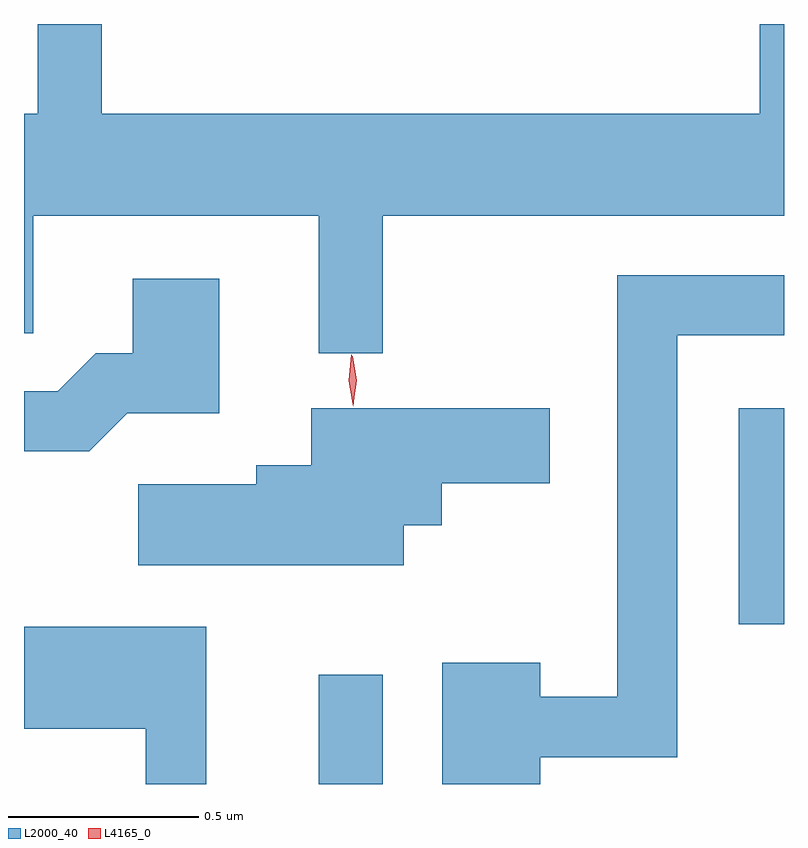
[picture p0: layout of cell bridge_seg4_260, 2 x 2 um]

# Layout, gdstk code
import gdstk
lib = gdstk.Library(unit=1e-6, precision=1e-09)
def R(c, l, rs):  # rectangles x0, y0, x1, y1
    for r in rs: c.add(gdstk.rectangle(r[:2], r[2:], *l))
def P(c, l, *ps):  # polygons
    for p in ps: c.add(gdstk.Polygon(p, *l))
L2000_40 = (2000, 40)
L4165_0 = (4165, 0)

bridge_seg4_260 = lib.new_cell('bridge_seg4_260')
R(bridge_seg4_260, L2000_40, [(701.081,1337.64,701.249,1337.928), (702.186,1338.061,702.305,1338.629)])
P(bridge_seg4_260, L2000_40, [(701.249,1339.136),(702.305,1339.136),(702.305,1339.64),(702.241,1339.64),(702.241,1339.404),(700.509,1339.404),(700.509,1339.64),(700.341,1339.64),(700.341,1339.404),(700.305,1339.404),(700.305,1338.826),(700.329,1338.826),(700.329,1339.136),(701.081,1339.136),(701.081,1338.773),(701.249,1338.773)],
  [(701.664,1337.711),(702.024,1337.711),(702.024,1338.821),(702.305,1338.821),(702.305,1338.979),(701.866,1338.979),(701.866,1337.869),(701.664,1337.869),(701.664,1337.959),(701.406,1337.959),(701.406,1337.64),(701.664,1337.64)],
  [(700.577,1338.616),(700.819,1338.616),(700.819,1338.969),(700.591,1338.969),(700.591,1338.774),(700.494,1338.774),(700.394,1338.674),(700.305,1338.674),(700.305,1338.516),(700.477,1338.516)],
  [(701.304,1338.321),(701.404,1338.321),(701.404,1338.431),(701.689,1338.431),(701.689,1338.629),(701.061,1338.629),(701.061,1338.479),(700.916,1338.479),(700.916,1338.429),(700.606,1338.429),(700.606,1338.216),(701.304,1338.216)],
  [(700.784,1338.054),(700.305,1338.054),(700.305,1337.786),(700.626,1337.786),(700.626,1337.64),(700.784,1337.64)])
P(bridge_seg4_260, L4165_0, [(701.171,1338.634),(701.159,1338.701),(701.166,1338.769),(701.166,1338.77),(701.167,1338.769),(701.179,1338.702),(701.172,1338.634),(701.172,1338.634)],
  [(701.171,1338.639),(701.17,1338.64),(701.16,1338.702),(701.169,1338.766),(701.169,1338.766),(701.17,1338.766),(701.18,1338.703),(701.172,1338.64)])

lib.write_gds('bridge_seg4_260.gds')
